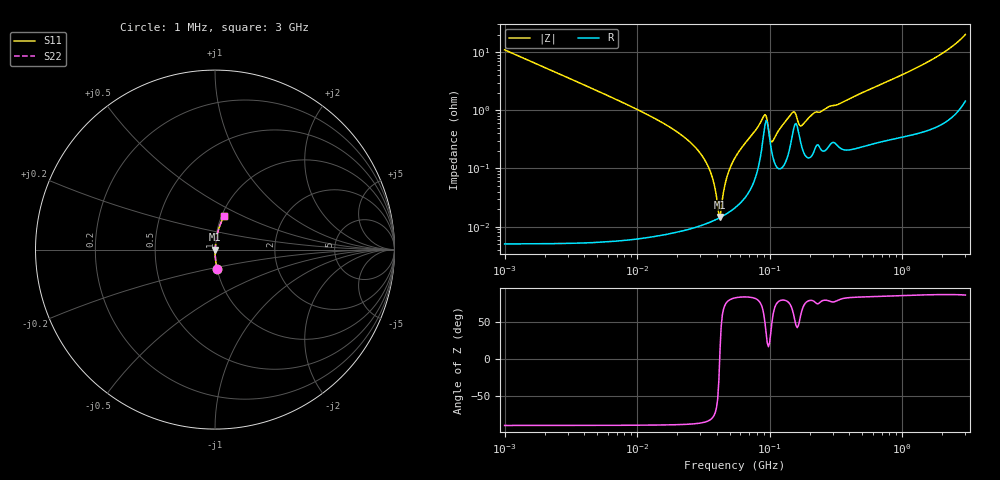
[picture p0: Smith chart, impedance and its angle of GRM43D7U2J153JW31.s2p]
!Murata Part Number: GRM43D7U2J153JW31
!These Parameters are Measured in Series Mode Connection
!Data Generated on Mar 30, 2021
!  o--ll--o
!Port1  Port2
!  o------o
!Operation Temp=25[degC], DC Bias Voltage=0[V]
!Freq. Start=1000[kHz] Stop=3[GHz] 401[Steps]
# Hz S RI R 50
!Freq.(Hz) S11(Real) S11(Imag) S21(Real) S21(Imag) S12(Real) S12(Imag) S22(Real) S22(Imag)
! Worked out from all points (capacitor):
!   401 points, 1 MHz to 3 GHz, reference 50 ohm
!   read as one part in series: C = 14.5 nF near 1.041 MHz
!   lowest |Z| = 14.6 mohm at 42.22 MHz (marker M1)
!   series resonance near 41.99 MHz, so ESL is about 990 pH
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1000000  0.0119 -0.1084  0.9881 0.1084  0.9881 0.1084  0.0119 -0.1084
3823119  0.000862 -0.0285  0.9991 0.0285  0.9991 0.0285  0.000862 -0.0285
1.461624e7  0.000113 -0.00662  0.9999 0.00662  0.9999 0.00662  0.000113 -0.00662
2.316168e7  9.79e-05 -0.00332  0.9999 0.00332  0.9999 0.00332  9.79e-05 -0.00332
3.065274e7  0.000108 -0.0017  0.9999 0.0017  0.9999 0.0017  0.000108 -0.0017
3.597591e7  0.000121 -0.000831  0.9999 0.000831  0.9999 0.000831  0.000121 -0.000831
3.820236e7  0.000128 -0.000508  0.9999 0.000508  0.9999 0.000508  0.000128 -0.000508
4.05666e7  0.000137 -0.000186  0.9999 0.000186  0.9999 0.000186  0.000137 -0.000186
4.22235e7  0.000143 3.06e-05  0.9999 -3.06e-05  0.9999 -3.06e-05  0.000143 3.06e-05
4.307715e7  0.000147 0.000139  0.9999 -0.000139  0.9999 -0.000139  0.000147 0.000139
4.761141e7  0.000168 0.000692  0.9998 -0.000692  0.9998 -0.000692  0.000168 0.000692
5.477226e7  0.000213 0.00151  0.9998 -0.00151  0.9998 -0.00151  0.000213 0.00151
9.034013e7  0.00404 0.00684  0.996 -0.00684  0.996 -0.00684  0.00404 0.00684
9.402997e7  0.00663 0.0045  0.9934 -0.0045  0.9934 -0.0045  0.00663 0.0045
1.018679e8  0.00246 0.00166  0.9975 -0.00166  0.9975 -0.00166  0.00246 0.00166
1.060286e8  0.00154 0.00257  0.9985 -0.00257  0.9985 -0.00257  0.00154 0.00257
1.49005e8  0.00394 0.00827  0.9961 -0.00827  0.9961 -0.00827  0.00394 0.00827
1.714156e8  0.00282 0.00455  0.9972 -0.00455  0.9972 -0.00455  0.00282 0.00455
2.094008e8  0.00176 0.00828  0.9982 -0.00828  0.9982 -0.00828  0.00176 0.00828
8.005644e8  0.00412 0.0321  0.9959 -0.0321  0.9959 -0.0321  0.00412 0.0321
1.818868e9  0.0118 0.0815  0.9882 -0.0815  0.9882 -0.0815  0.0118 0.0815
3e9  0.0515 0.188  0.9485 -0.188  0.9485 -0.188  0.0515 0.188
